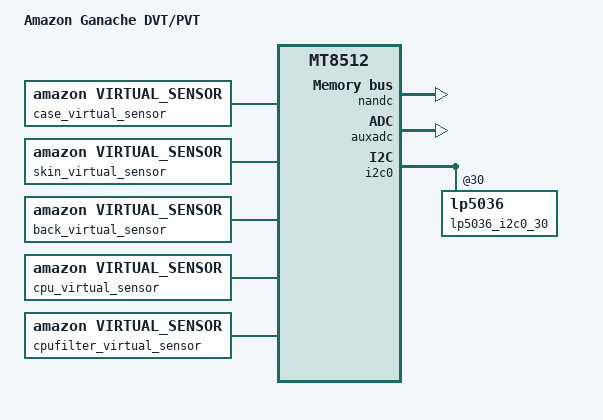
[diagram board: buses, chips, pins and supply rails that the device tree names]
/*
 * Copyright (c) 2020 Amazon.com
 *
 * SPDX-License-Identifier: (GPL-2.0)
 */

/dts-v1/;
#include "brownie-mt8512.dtsi"

/ {
	model = "Amazon Ganache DVT/PVT";
	compatible = "amzn,ganache-mt8512-nand-dvt", "amzn,ganache-mt8512-nand-pvt", "mediatek,mt8512";

	chosen {
		bootargs = "";
	};

	reset_adc: fixedregulator@7 {
		pinctrl-names = "default";
		pinctrl-0 = <&adc_reset_default>;
	};

	/* display */
	case_virtual_sensor: case-virtual-sensor {
		compatible = "amazon,virtual_sensor";
		#thermal-sensor-cells = <0>;

		zone-list {
			zone-names = "therm0_s", "therm1_s", "therm2_s", "wifi_temp", "mtktscpu";
			therm0_s = <1 71700 32 (-432) (-40000) 125000>;
			therm1_s = <1 65900 841 (-189) (-40000) 125000>;
			therm2_s = <1 15700 942 1450 (-40000) 125000>;
			wifi_temp = <0 0 0 0 0 0>;
			mtktscpu = <1 57100 882 117 0 0>;
		};
	};

	/* top */
	skin_virtual_sensor: skin-virtual-sensor {
		compatible = "amazon,virtual_sensor";
		#thermal-sensor-cells = <0>;

		zone-list {
			zone-names = "therm0_s", "therm1_s", "therm2_s", "wifi_temp", "mtktscpu";
			therm0_s = <1 60100 100 (-54) (-40000) 125000>;
			therm1_s = <1 9230 900 699 (-40000) 125000>;
			therm2_s = <1 25700 900 465 (-40000) 125000>;
			wifi_temp = <0 0 0 0 0 0>;
			mtktscpu = <1 71500 120 (-111) 0 0>;
		};
	};

	back_virtual_sensor: back-virtual-sensor {
		compatible = "amazon,virtual_sensor";
		#thermal-sensor-cells = <0>;

		zone-list {
			zone-names = "therm0_s", "therm1_s", "therm2_s", "wifi_temp", "mtktscpu";
			therm0_s = <1 22200 900 824 (-40000) 125000>;
			therm1_s = <1 79700 153 (-411) (-40000) 125000>;
			therm2_s = <1 29600 900 591 (-40000) 125000>;
			wifi_temp = <0 0 0 0 0 0>;
			mtktscpu = <1 65400 680 (-39) 0 0>;
		};
	};

	cpu_virtual_sensor: cpu-virtual-sensor {
		compatible = "amazon,virtual_sensor";
		#thermal-sensor-cells = <0>;

		zone-list {
			zone-names = "therm0_s", "therm1_s", "therm2_s", "wifi_temp", "mtktscpu";
			therm0_s = <0 0 0 0 (-40000) 125000>;
			therm1_s = <0 0 0 0 (-40000) 125000>;
			therm2_s = <0 0 0 0 (-40000) 125000>;
			wifi_temp = <0 0 0 0 0 0>;
			mtktscpu = <0 0 1000 1000 0 0>;
		};
	};

	cpufilter_virtual_sensor: cpufilter-virtual-sensor {
		compatible = "amazon,virtual_sensor";
		#thermal-sensor-cells = <0>;
		moving-average-prop = <1000 5 100 0>;

		zone-list {
			zone-names = "therm0_s", "therm1_s", "therm2_s", "wifi_temp", "mtktscpu";
			therm0_s = <0 0 0 0 (-40000) 125000>;
			therm1_s = <0 0 0 0 (-40000) 125000>;
			therm2_s = <0 0 0 0 (-40000) 125000>;
			wifi_temp = <0 0 0 0 0 0>;
			mtktscpu = <0 0 1000 1000 0 0>;
		};
	};
};

&nandc {
	status = "okay";
};

&auxadc {
        expected-divider-voltage-raw = <900>;
        ref-voltage-adc-channel = <3>;
        has-error-correction;
        status = "okay";
};

&i2c0 {
	lp5036_i2c0_30: lp5036@30 {
		status = "okay";
	};
};

&pio {
	mmc1_pins_default: mmc1default {
		pins_wifi_reset {
			pinmux = <MT8512_PIN_44_PWM0__FUNC_GPIO44>;
			input-enable;
			bias-disable;
		};
	};

	adc_reset_default: adcreset {
		pins_cmd_dat {
			pinmux = <MT8512_PIN_17_GPIO17__FUNC_GPIO17>;
			output-high;
			bias-pull-up;
		};
	};
};

&pwm {
	invert = <1>;
};

&volumeup_button {
	swdebounce-interval = <100>;
	dyndebounce-interval = <0>;
	dyndebounce-duration = <10000>;		/* 10 sec */
};

&volumedown_button {
	swdebounce-interval = <100>;
	dyndebounce-interval = <0>;
	dyndebounce-duration = <10000>;		/* 10 sec */
};

&action_button {
	swdebounce-interval = <100>;
	dyndebounce-interval = <0>;
	dyndebounce-duration = <10000>;		/* 10 sec */
};
